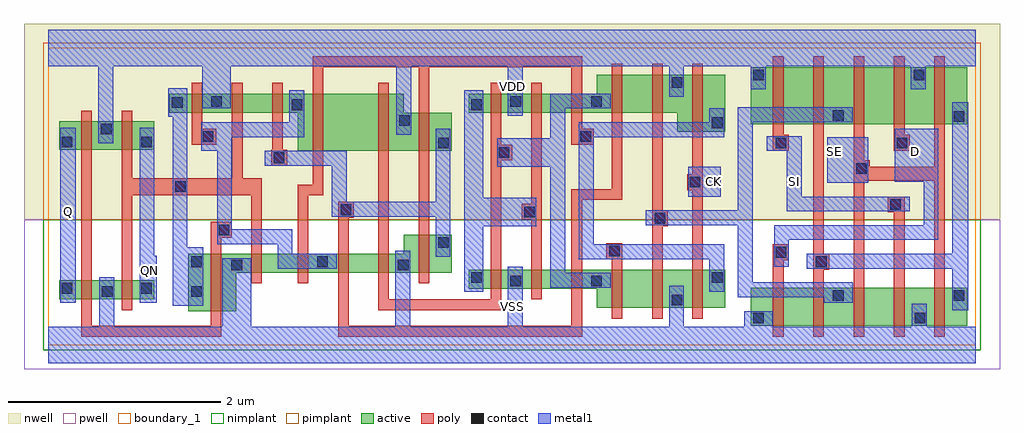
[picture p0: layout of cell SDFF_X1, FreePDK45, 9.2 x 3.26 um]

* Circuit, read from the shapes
.subckt SDFF_X1 CK D Q QN SE SI VDD VSS
M1 VSS n1 Q VSUBS nfet w=0.18u l=0.1u
M2 QN n2 VSS VSUBS nfet w=0.18u l=0.1u
M3 VSS n1 n2 VSUBS nfet w=0.54u l=0.1u
M4 n3 n2 VSS VSUBS nfet w=0.18u l=0.1u
M5 n1 n4 n3 VSUBS nfet w=0.18u l=0.1u
M6 n5 n6 n1 VSUBS nfet w=0.18u l=0.1u
M7 VSS n7 n5 VSUBS nfet w=0.18u l=0.1u
M8 n6 n4 VSS VSUBS nfet w=0.36u l=0.1u
M9 VSS n7 n8 VSUBS nfet w=0.18u l=0.1u
M10 n9 n8 VSS VSUBS nfet w=0.18u l=0.1u
M11 n7 n6 n9 VSUBS nfet w=0.18u l=0.1u
M12 n10 n4 n7 VSUBS nfet w=0.36u l=0.1u
M13 VSS n11 n10 VSUBS nfet w=0.36u l=0.1u
M14 n4 CK VSS VSUBS nfet w=0.36u l=0.1u
M15 n12 D VSS VSUBS nfet w=0.36u l=0.1u
M16 n11 n13 n12 VSUBS nfet w=0.36u l=0.1u
M17 n14 SE n11 VSUBS nfet w=0.36u l=0.1u
M18 VSS SI n14 VSUBS nfet w=0.36u l=0.1u
M19 n13 SE VSS VSUBS nfet w=0.36u l=0.1u
M20 VDD n1 Q n15 pfet w=0.27u l=0.1u
M21 QN n2 VDD n15 pfet w=0.27u l=0.1u
M22 VDD n1 n2 n15 pfet w=0.18u l=0.1u
M23 n16 n2 VDD n15 pfet w=0.18u l=0.1u
M24 n1 n6 n16 n15 pfet w=0.18u l=0.1u
M25 n17 n4 n1 n15 pfet w=0.54u l=0.1u
M26 VDD n7 n17 n15 pfet w=0.54u l=0.1u
M27 n6 n4 VDD n15 pfet w=0.36u l=0.1u
M28 VDD n7 n8 n15 pfet w=0.18u l=0.1u
M29 n18 n8 VDD n15 pfet w=0.18u l=0.1u
M30 n7 n4 n18 n15 pfet w=0.18u l=0.1u
M31 n19 n6 n7 n15 pfet w=0.36u l=0.1u
M32 VDD n11 n19 n15 pfet w=0.36u l=0.1u
M33 n4 CK VDD n15 pfet w=0.54u l=0.1u
M34 n20 SI VDD n15 pfet w=0.54u l=0.1u
M35 n11 n13 n20 n15 pfet w=0.54u l=0.1u
M36 n21 SE n11 n15 pfet w=0.54u l=0.1u
M37 VDD D n21 n15 pfet w=0.54u l=0.1u
M38 n13 SE VDD n15 pfet w=0.54u l=0.1u
.ends

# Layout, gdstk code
import gdstk
lib = gdstk.Library(unit=1e-6, precision=1e-09)
def R(c, l, rs):  # rectangles x0, y0, x1, y1
    for r in rs: c.add(gdstk.rectangle(r[:2], r[2:], *l))
def P(c, l, *ps):  # polygons
    for p in ps: c.add(gdstk.Polygon(p, *l))
active = (1, 0)
pwell = (2, 0)
nwell = (3, 0)
nimplant = (4, 0)
pimplant = (5, 0)
poly = (9, 0)
contact = (10, 0)
metal1 = (11, 0)
boundary_1 = (235, 1)

sdff_x1 = lib.new_cell('SDFF_X1')
R(sdff_x1, active, [(6.62,0.18,8.66,0.54), (0.1,0.43,1,0.61), (0.1,1.84,1,2.11), (6.62,2.08,8.66,2.62)])
P(sdff_x1, active, [(3.96,2.19),(5.93,2.19),(5.93,2.01),(6.38,2.01),(6.38,2.55),(5.17,2.55),(5.17,2.37),(3.96,2.37)],
  [(3.96,0.53),(5.17,0.53),(5.17,0.35),(6.38,0.35),(6.38,0.71),(3.96,0.71)],
  [(1.14,2.19),(2.35,2.19),(2.35,1.83),(3.8,1.83),(3.8,2.19),(3.35,2.19),(3.35,2.37),(1.14,2.37)],
  [(1.32,0.32),(1.77,0.32),(1.77,0.68),(3.8,0.68),(3.8,1.04),(3.35,1.04),(3.35,0.86),(1.32,0.86)])
R(sdff_x1, pwell, [(-0.23,-0.23,8.97,1.18)])
R(sdff_x1, nwell, [(-0.23,1.18,8.97,3.03)])
R(sdff_x1, nimplant, [(-0.05,-0.05,8.79,1.18)])
R(sdff_x1, pimplant, [(-0.05,1.18,8.79,2.85)])
P(sdff_x1, poly, [(7.59,0.08),(7.69,0.08),(7.69,1.55),(8.35,1.55),(8.35,0.08),(8.45,0.08),(8.45,2.72),(8.35,2.72),(8.35,1.68),(7.74,1.68),(7.74,1.74),(7.69,1.74),(7.69,2.72),(7.59,2.72)],
  [(7.97,1.83),(8.12,1.83),(8.12,1.98),(8.07,1.98),(8.07,2.72),(7.97,2.72)],
  [(7.91,1.25),(7.97,1.25),(7.97,0.08),(8.07,0.08),(8.07,1.4),(7.91,1.4)],
  [(7.21,0.08),(7.31,0.08),(7.31,0.71),(7.36,0.71),(7.36,0.86),(7.31,0.86),(7.31,2.72),(7.21,2.72)],
  [(6.83,1.83),(6.98,1.83),(6.98,1.98),(6.93,1.98),(6.93,2.72),(6.83,2.72)],
  [(6.83,0.08),(6.93,0.08),(6.93,0.8),(6.98,0.8),(6.98,0.95),(6.83,0.95)],
  [(6.02,1.46),(6.07,1.46),(6.07,0.25),(6.17,0.25),(6.17,2.65),(6.07,2.65),(6.07,1.61),(6.02,1.61)],
  [(5.69,0.25),(5.79,0.25),(5.79,1.12),(5.84,1.12),(5.84,1.27),(5.79,1.27),(5.79,2.65),(5.69,2.65)],
  [(2.73,0.08),(5.03,0.08),(5.03,1.37),(5.41,1.37),(5.41,2.65),(5.31,2.65),(5.31,1.47),(4.93,1.47),(4.93,0.18),(2.83,0.18),(2.83,1.2),(2.88,1.2),(2.88,1.35),(2.73,1.35)],
  [(5.26,0.81),(5.31,0.81),(5.31,0.25),(5.41,0.25),(5.41,0.96),(5.26,0.96)],
  [(2.35,0.58),(2.45,0.58),(2.45,1.41),(2.59,1.41),(2.59,2.62),(3.49,2.62),(3.49,0.58),(3.59,0.58),(3.59,2.62),(4.93,2.62),(4.93,1.89),(5.14,1.89),(5.14,2.04),(5.03,2.04),(5.03,2.72),(2.49,2.72),(2.49,1.51),(2.35,1.51)],
  [(4.46,1.18),(4.55,1.18),(4.55,0.43),(4.65,0.43),(4.65,2.47),(4.55,2.47),(4.55,1.33),(4.46,1.33)],
  [(3.11,0.33),(4.27,0.33),(4.27,1.74),(4.37,1.74),(4.37,1.89),(4.27,1.89),(4.27,2.47),(4.17,2.47),(4.17,0.43),(3.21,0.43),(3.21,2.47),(3.11,2.47)],
  [(2.1,1.69),(2.25,1.69),(2.25,1.84),(2.21,1.84),(2.21,2.47),(2.11,2.47),(2.11,1.84),(2.1,1.84)],
  [(0.69,0.33),(0.79,0.33),(0.79,1.41),(1.91,1.41),(1.91,0.58),(2.01,0.58),(2.01,1.57),(1.83,1.57),(1.83,2.47),(1.73,2.47),(1.73,1.57),(0.79,1.57),(0.79,2.21),(0.69,2.21)],
  [(0.31,0.08),(1.63,0.08),(1.63,1.01),(1.73,1.01),(1.73,1.16),(1.53,1.16),(1.53,0.18),(0.41,0.18),(0.41,2.21),(0.31,2.21)],
  [(1.35,1.89),(1.58,1.89),(1.58,2.04),(1.45,2.04),(1.45,2.47),(1.35,2.47)])
R(sdff_x1, contact, [(6.645,0.205,6.745,0.305), (8.165,0.205,8.265,0.305), (5.875,0.375,5.975,0.475), (7.395,0.415,7.495,0.515), (8.535,0.415,8.635,0.515), (0.505,0.455,0.605,0.555), (1.345,0.455,1.445,0.555), (0.125,0.485,0.225,0.585), (0.875,0.485,0.975,0.585), (4.355,0.555,4.455,0.655), (5.115,0.555,5.215,0.655), (3.985,0.585,4.085,0.685), (6.255,0.585,6.355,0.685), (1.725,0.705,1.825,0.805), (3.295,0.705,3.395,0.805), (1.345,0.735,1.445,0.835), (2.535,0.735,2.635,0.835), (7.235,0.735,7.335,0.835), (6.855,0.825,6.955,0.925), (5.285,0.835,5.385,0.935), (3.675,0.915,3.775,1.015), (1.605,1.035,1.705,1.135), (5.715,1.145,5.815,1.245), (4.485,1.205,4.585,1.305), (2.755,1.225,2.855,1.325), (7.935,1.275,8.035,1.375), (1.195,1.445,1.295,1.545), (6.045,1.485,6.145,1.585), (7.615,1.615,7.715,1.715), (2.125,1.715,2.225,1.815), (4.245,1.765,4.345,1.865), (3.675,1.855,3.775,1.955), (6.855,1.855,6.955,1.955), (7.995,1.855,8.095,1.955), (0.125,1.865,0.225,1.965), (0.875,1.865,0.975,1.965), (1.455,1.915,1.555,2.015), (5.015,1.915,5.115,2.015), (0.495,1.985,0.595,2.085), (6.255,2.045,6.355,2.145), (3.305,2.065,3.405,2.165), (8.535,2.105,8.635,2.205), (7.395,2.115,7.495,2.215), (2.295,2.215,2.395,2.315), (3.985,2.215,4.085,2.315), (1.165,2.235,1.265,2.335), (1.535,2.245,1.635,2.345), (4.355,2.245,4.455,2.345), (5.115,2.245,5.215,2.345), (5.875,2.425,5.975,2.525), (6.645,2.495,6.745,2.595), (8.155,2.495,8.255,2.595)])
R(sdff_x1, metal1, [(0.11,0.4,0.26,2.05), (0.11,0.4,0.26,2.05), (6.03,1.4,6.34,1.68), (6.03,1.4,6.34,1.68), (7.34,1.53,7.73,1.96), (7.34,1.53,7.73,1.96)])
P(sdff_x1, metal1, [(7.98,1.54),(8.25,1.54),(8.25,1.13),(6.84,1.13),(6.84,0.74),(6.98,0.74),(6.98,0.99),(8.39,0.99),(8.39,2.04),(7.98,2.04)],
  [(0,-0.17),(8.74,-0.17),(8.74,0.17),(8.28,0.17),(8.28,0.39),(8.14,0.39),(8.14,0.17),(6.83,0.17),(6.83,0.32),(6.56,0.32),(6.56,0.17),(5.99,0.17),(5.99,0.56),(5.85,0.56),(5.85,0.17),(4.47,0.17),(4.47,0.74),(4.33,0.74),(4.33,0.17),(3.41,0.17),(3.41,0.89),(3.27,0.89),(3.27,0.17),(1.91,0.17),(1.91,0.82),(1.64,0.82),(1.64,0.17),(0.62,0.17),(0.62,0.64),(0.48,0.64),(0.48,0.17),(0,0.17)],
  [(6.77,1.83),(6.96,1.83),(6.96,1.26),(8.12,1.26),(8.12,1.4),(7.1,1.4),(7.1,1.97),(6.77,1.97)],
  [(0,2.63),(0.47,2.63),(0.47,1.9),(0.61,1.9),(0.61,2.63),(1.45,2.63),(1.45,2.23),(1.72,2.23),(1.72,2.63),(3.28,2.63),(3.28,1.98),(3.42,1.98),(3.42,2.63),(4.33,2.63),(4.33,2.16),(4.47,2.16),(4.47,2.63),(5.85,2.63),(5.85,2.34),(5.99,2.34),(5.99,2.63),(6.62,2.63),(6.62,2.41),(6.76,2.41),(6.76,2.63),(8.13,2.63),(8.13,2.41),(8.27,2.41),(8.27,2.63),(8.74,2.63),(8.74,2.97),(0,2.97)],
  [(0.86,0.4),(1.02,0.4),(1.02,0.84),(1,0.84),(1,2.05),(0.86,2.05)],
  [(0,2.63),(0.47,2.63),(0.47,1.9),(0.61,1.9),(0.61,2.63),(1.45,2.63),(1.45,2.23),(1.72,2.23),(1.72,2.63),(3.28,2.63),(3.28,1.98),(3.42,1.98),(3.42,2.63),(4.33,2.63),(4.33,2.16),(4.47,2.16),(4.47,2.63),(5.85,2.63),(5.85,2.34),(5.99,2.34),(5.99,2.63),(6.62,2.63),(6.62,2.41),(6.76,2.41),(6.76,2.63),(8.13,2.63),(8.13,2.41),(8.27,2.41),(8.27,2.63),(8.74,2.63),(8.74,2.97),(0,2.97)],
  [(0,-0.17),(8.74,-0.17),(8.74,0.17),(8.28,0.17),(8.28,0.39),(8.14,0.39),(8.14,0.17),(6.83,0.17),(6.83,0.32),(6.56,0.32),(6.56,0.17),(5.99,0.17),(5.99,0.56),(5.85,0.56),(5.85,0.17),(4.47,0.17),(4.47,0.74),(4.33,0.74),(4.33,0.17),(3.41,0.17),(3.41,0.89),(3.27,0.89),(3.27,0.17),(1.91,0.17),(1.91,0.82),(1.64,0.82),(1.64,0.17),(0.62,0.17),(0.62,0.64),(0.48,0.64),(0.48,0.17),(0,0.17)],
  [(7.15,0.72),(8.52,0.72),(8.52,0.33),(8.67,0.33),(8.67,2.29),(8.52,2.29),(8.52,0.86),(7.15,0.86)],
  [(7.98,1.54),(8.25,1.54),(8.25,1.13),(6.84,1.13),(6.84,0.74),(6.98,0.74),(6.98,0.99),(8.39,0.99),(8.39,2.04),(7.98,2.04)],
  [(6.77,1.83),(6.96,1.83),(6.96,1.26),(8.12,1.26),(8.12,1.4),(7.1,1.4),(7.1,1.97),(6.77,1.97)],
  [(6.64,2.1),(7.58,2.1),(7.58,2.24),(6.5,2.24),(6.5,1.27),(5.63,1.27),(5.63,1.13),(6.5,1.13),(6.5,0.45),(7.31,0.45),(7.31,0.4),(7.58,0.4),(7.58,0.59),(6.64,0.59)],
  [(5.14,1.96),(6.37,1.96),(6.37,2.23),(6.23,2.23),(6.23,2.1),(5,2.1),(5,0.81),(6.23,0.81),(6.23,0.5),(6.37,0.5),(6.37,0.95),(5.14,0.95)],
  [(4.87,2.23),(5.3,2.23),(5.3,2.37),(4.73,2.37),(4.73,1.95),(4.23,1.95),(4.23,1.68),(4.73,1.68),(4.73,0.54),(5.3,0.54),(5.3,0.68),(4.87,0.68)],
  [(3.92,0.5),(4.1,0.5),(4.1,1.12),(4.6,1.12),(4.6,1.39),(4.1,1.39),(4.1,2.4),(3.92,2.4)],
  [(2.04,1.69),(2.67,1.69),(2.67,1.21),(3.65,1.21),(3.65,0.83),(3.79,0.83),(3.79,2.04),(3.65,2.04),(3.65,1.35),(2.81,1.35),(2.81,1.83),(2.04,1.83)],
  [(1.44,1.83),(1.59,1.83),(1.59,0.95),(2.16,0.95),(2.16,0.72),(2.72,0.72),(2.72,0.86),(2.3,0.86),(2.3,1.09),(1.73,1.09),(1.73,1.96),(2.41,1.96),(2.41,2.4),(2.27,2.4),(2.27,2.1),(1.44,2.1)],
  [(1.13,2.15),(1.17,2.15),(1.17,0.37),(1.46,0.37),(1.46,0.92),(1.31,0.92),(1.31,2.42),(1.13,2.42)],
  [(0.86,0.4),(1.02,0.4),(1.02,0.84),(1,0.84),(1,2.05),(0.86,2.05)])
R(sdff_x1, boundary_1, [(0,0,8.74,2.8)])
sdff_x1.add(gdstk.Label('VSS', (4.37,0.36), layer=11, texttype=0))
sdff_x1.add(gdstk.Label('VDD', (4.37,2.435), layer=11, texttype=0))
sdff_x1.add(gdstk.Label('SI', (7.03,1.54), layer=11, texttype=0))
sdff_x1.add(gdstk.Label('SE', (7.41,1.82), layer=11, texttype=0))
sdff_x1.add(gdstk.Label('QN', (0.95,0.7), layer=11, texttype=0))
sdff_x1.add(gdstk.Label('Q', (0.19,1.26), layer=11, texttype=0))
sdff_x1.add(gdstk.Label('D', (8.17,1.82), layer=11, texttype=0))
sdff_x1.add(gdstk.Label('CK', (6.27,1.54), layer=11, texttype=0))

lib.write_gds('SDFF_X1.gds')
